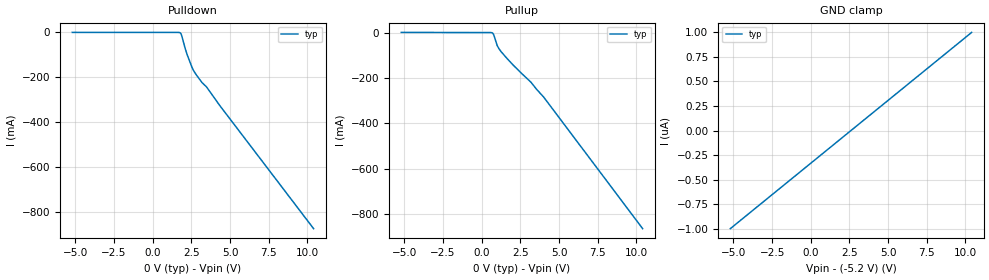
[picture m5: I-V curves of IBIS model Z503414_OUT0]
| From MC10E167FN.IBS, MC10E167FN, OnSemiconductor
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| (C) COPYRIGHT 1993-2000
| MENTOR GRAPHICS CORPORATION
| ICX STANDARD LIBRARY, ICX PROJECT MODELING,
| ICX CUSTOM MODELING, ICX VENDOR MODEL
| ALL RIGHTS RESERVED.
| THE FOLLOWING ARE TRADEMARKS OR SERVICE MARKS OF
| MENTOR GRAPHICS CORPORATION:ICX (R), ICX STANDARD
| LIBRARY(R), ICX PROJECT MODELING(R), ICX CUSTOM
| MODELING(R), qualityIBIS(TM), MODELVIEWER(TM),
| AND MODELEDITOR(TM)
| ALL COPIES OF SOFTWARE, INCLUDING BUT NOT LIMITED TO
| ANY MODIFICATIONS, ENHANCEMENTS OR DERIVATIVE WORKS,
| MUST CONTAIN ALL MENTOR GRAPHICS CORPORATION'S
| NOTICES AND LEGENDS, INCLUDING THOSE EMBEDDED IN
| SOFTWARE AND THOSE AFFIXED TO SOFTWARE MEDIUM
| AND CONTAINER, AS RECEIVED FROM MENTOR GRAPHICS
| CORPORATION.
| Model Application Version 1.89 2/18/99.
[Model] Z503414_OUT0
Model_type Output_ECL
Vref=-2.000V
Rref=50.00ohms
Cref=0.000F
Vmeas=-1.305V
C_comp 8.000pF NA NA
| variable typ   min   max
[Voltage Range] -5.200V NA NA
[POWER Clamp Reference] 0.000V NA NA
[Pullup Reference] 0.000V NA NA
[Pulldown Reference] 0.000V NA NA
[GND Clamp Reference] -5.200V NA NA
[GND Clamp]
-5.2V     -1uA       NA         NA
10.4V     1uA        NA         NA
[Pulldown]
-5.2V     211.7uA    NA         NA
1.783V    -2.008mA   NA         NA
1.87V     -12.69mA   NA         NA
2.102V    -71.79mA   NA         NA
2.231V    -99.78mA   NA         NA
2.55V     -157mA     NA         NA
2.814V    -188.6mA   NA         NA
3.194V    -223.9mA   NA         NA
3.477V    -242.6mA   NA         NA
4.341V    -326.3mA   NA         NA
10.4V     -874.7mA   NA         NA
[Pullup]
-5.2V     667.7uA    NA         NA
703mV     -2.26mA    NA         NA
810.1mV   -16.61mA   NA         NA
1.002V    -57.61mA   NA         NA
1.25V     -83.86mA   NA         NA
2.026V    -142.7mA   NA         NA
3.183V    -218.5mA   NA         NA
3.994V    -283.1mA   NA         NA
10.4V     -862.9mA   NA         NA
[POWER Clamp]
-5.2V     0A         NA         NA
10.4V     0A         NA         NA
[Ramp]
| variable typ min max
dV/dt_r 616.6m/423.1p NA NA
dV/dt_f 616.6m/374.4p NA NA
R_load = 500.0Ohms
